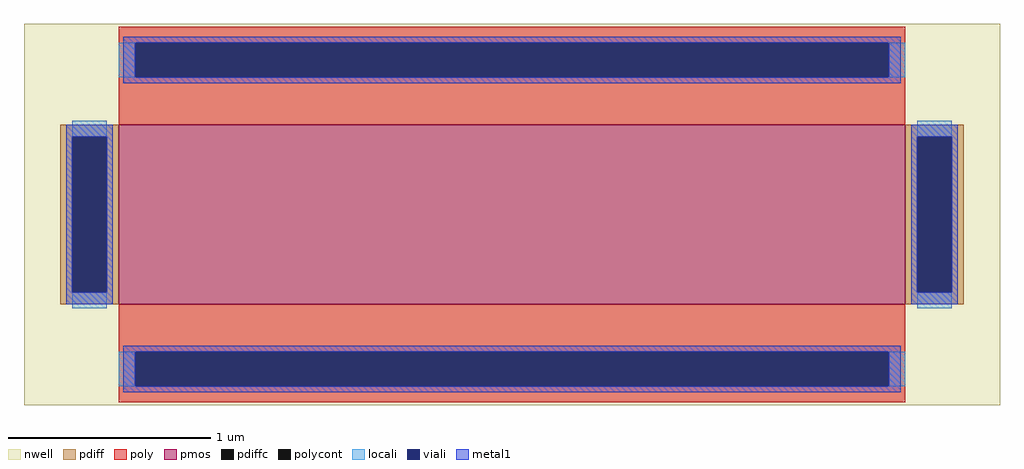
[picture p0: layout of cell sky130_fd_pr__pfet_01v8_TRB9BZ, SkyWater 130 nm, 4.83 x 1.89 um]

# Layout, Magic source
magic
tech sky130A
magscale 1 2
<< nwell >>
rect -483 -189 483 189
<< pmos >>
rect -389 -89 389 89
<< pdiff >>
rect -447 77 -389 89
rect -447 -77 -435 77
rect -401 -77 -389 77
rect -447 -89 -389 -77
rect 389 77 447 89
rect 389 -77 401 77
rect 435 -77 447 77
rect 389 -89 447 -77
<< pdiffc >>
rect -435 -77 -401 77
rect 401 -77 435 77
<< poly >>
rect -389 170 389 186
rect -389 136 -373 170
rect 373 136 389 170
rect -389 89 389 136
rect -389 -136 389 -89
rect -389 -170 -373 -136
rect 373 -170 389 -136
rect -389 -186 389 -170
<< polycont >>
rect -373 136 373 170
rect -373 -170 373 -136
<< locali >>
rect -389 136 -373 170
rect 373 136 389 170
rect -435 77 -401 93
rect -435 -93 -401 -77
rect 401 77 435 93
rect 401 -93 435 -77
rect -389 -170 -373 -136
rect 373 -170 389 -136
<< viali >>
rect -373 136 373 170
rect -435 -77 -401 77
rect 401 -77 435 77
rect -373 -170 373 -136
<< metal1 >>
rect -385 170 385 176
rect -385 136 -373 170
rect 373 136 385 170
rect -385 130 385 136
rect -441 77 -395 89
rect -441 -77 -435 77
rect -401 -77 -395 77
rect -441 -89 -395 -77
rect 395 77 441 89
rect 395 -77 401 77
rect 435 -77 441 77
rect 395 -89 441 -77
rect -385 -136 385 -130
rect -385 -170 -373 -136
rect 373 -170 385 -136
rect -385 -176 385 -170
<< properties >>
string gencell sky130_fd_pr__pfet_01v8
string library sky130
string parameters w 0.89 l 3.89 m 1 nf 1 diffcov 100 polycov 100 guard 0 glc 0 grc 0 gtc 0 gbc 0 tbcov 100 rlcov 100 topc 1 botc 1 poverlap 0 doverlap 1 lmin 0.15 wmin 0.42 compatible {sky130_fd_pr__pfet_01v8  sky130_fd_pr__pfet_01v8_lvt sky130_fd_pr__pfet_01v8_hvt  sky130_fd_pr__pfet_g5v0d10v5} full_metal 0 viasrc 100 viadrn 100 viagate 100 viagb 0 viagr 0 viagl 0 viagt 0
<< end >>
